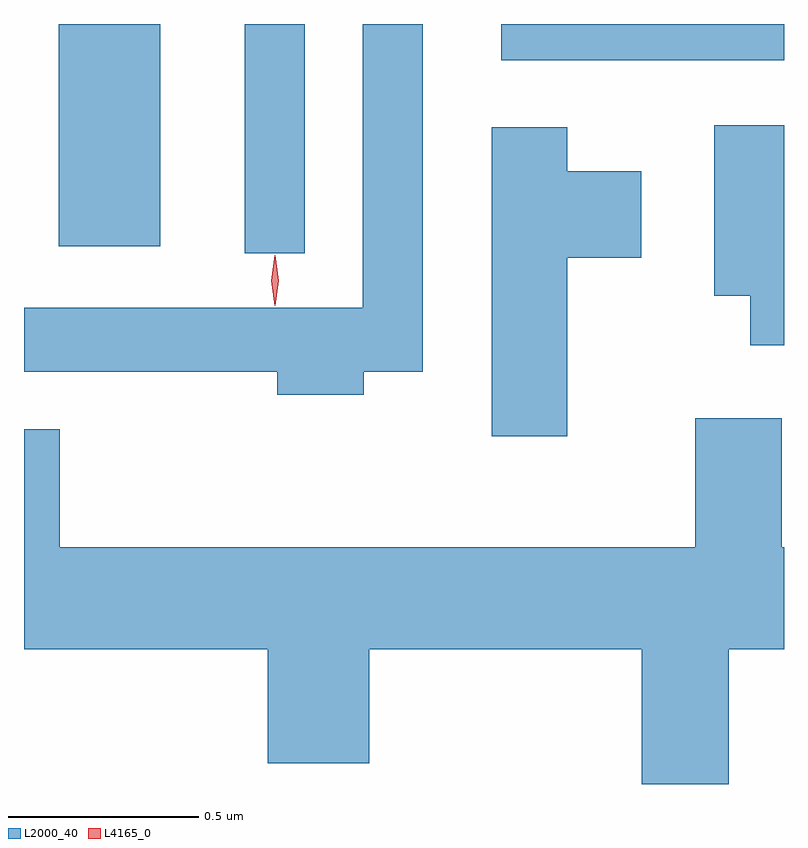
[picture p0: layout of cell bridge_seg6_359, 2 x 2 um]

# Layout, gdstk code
import gdstk
lib = gdstk.Library(unit=1e-6, precision=1e-09)
def R(c, l, rs):  # rectangles x0, y0, x1, y1
    for r in rs: c.add(gdstk.rectangle(r[:2], r[2:], *l))
def P(c, l, *ps):  # polygons
    for p in ps: c.add(gdstk.Polygon(p, *l))
L2000_40 = (2000, 40)
L4165_0 = (4165, 0)

bridge_seg6_359 = lib.new_cell('bridge_seg6_359')
R(bridge_seg6_359, L2000_40, [(1273.956,1539.978,1274.114,1540.581), (1273.466,1539.996,1273.734,1540.581), (1274.631,1540.486,1275.375,1540.581)])
P(bridge_seg6_359, L2000_40, [(1274.269,1539.666),(1274.424,1539.666),(1274.424,1540.581),(1274.266,1540.581),(1274.266,1539.834),(1273.375,1539.834),(1273.375,1539.666),(1274.041,1539.666),(1274.041,1539.606),(1274.269,1539.606)],
  [(1275.375,1540.314),(1275.191,1540.314),(1275.191,1539.866),(1275.286,1539.866),(1275.286,1539.736),(1275.375,1539.736)],
  [(1274.804,1539.966),(1274.999,1539.966),(1274.999,1540.194),(1274.804,1540.194),(1274.804,1540.309),(1274.606,1540.309),(1274.606,1539.496),(1274.804,1539.496)],
  [(1275.229,1538.936),(1275.375,1538.936),(1275.375,1539.204),(1275.369,1539.204),(1275.369,1539.544),(1275.141,1539.544),(1275.141,1539.204),(1273.469,1539.204),(1273.469,1539.514),(1273.375,1539.514),(1273.375,1538.936),(1274.016,1538.936),(1274.016,1538.636),(1274.284,1538.636),(1274.284,1538.936),(1275.001,1538.936),(1275.001,1538.581),(1275.229,1538.581)])
P(bridge_seg6_359, L4165_0, [(1274.036,1539.839),(1274.035,1539.84),(1274.025,1539.906),(1274.035,1539.972),(1274.035,1539.973),(1274.036,1539.972),(1274.045,1539.906),(1274.036,1539.84)])

lib.write_gds('bridge_seg6_359.gds')
